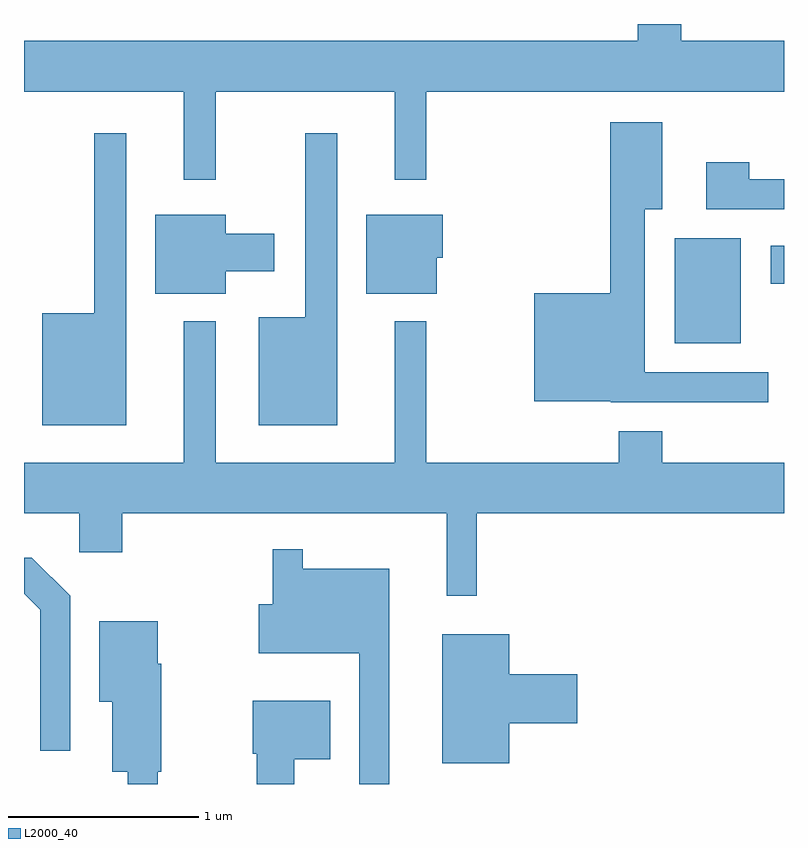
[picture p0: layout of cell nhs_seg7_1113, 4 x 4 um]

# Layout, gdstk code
import gdstk
lib = gdstk.Library(unit=1e-6, precision=1e-09)
def R(c, l, rs):  # rectangles x0, y0, x1, y1
    for r in rs: c.add(gdstk.rectangle(r[:2], r[2:], *l))
def P(c, l, *ps):  # polygons
    for p in ps: c.add(gdstk.Polygon(p, *l))
L2000_40 = (2000, 40)

nhs_seg7_1113 = lib.new_cell('nhs_seg7_1113')
R(nhs_seg7_1113, L2000_40, [(223.036,1688.571,223.384,1689.124), (223.541,1688.886,223.611,1689.084)])
P(nhs_seg7_1113, L2000_40, [(220.619,1689.896),(221.561,1689.896),(221.561,1689.433),(221.729,1689.433),(221.729,1689.896),(223.611,1689.896),(223.611,1690.164),(223.069,1690.164),(223.069,1690.252),(222.841,1690.252),(222.841,1690.164),(219.611,1690.164),(219.611,1689.896),(220.451,1689.896),(220.451,1689.433),(220.619,1689.433)],
  [(223.528,1688.419),(222.879,1688.419),(222.879,1689.276),(222.969,1689.276),(222.969,1689.734),(222.696,1689.734),(222.696,1688.834),(222.296,1688.834),(222.296,1688.266),(222.7,1688.266),(222.7,1688.261),(223.528,1688.261)],
  [(220.149,1689.678),(219.981,1689.678),(219.981,1688.729),(219.706,1688.729),(219.706,1688.141),(220.149,1688.141)],
  [(221.259,1689.678),(221.091,1689.678),(221.091,1688.709),(220.846,1688.709),(220.846,1688.141),(221.259,1688.141)],
  [(223.611,1689.434),(223.429,1689.434),(223.429,1689.524),(223.201,1689.524),(223.201,1689.276),(223.611,1689.276)],
  [(220.674,1688.951),(220.929,1688.951),(220.929,1689.149),(220.674,1689.149),(220.674,1689.249),(220.301,1689.249),(220.301,1688.831),(220.674,1688.831)],
  [(221.784,1689.021),(221.814,1689.021),(221.814,1689.249),(221.411,1689.249),(221.411,1688.831),(221.784,1688.831)],
  [(221.994,1687.676),(223.611,1687.676),(223.611,1687.944),(222.969,1687.944),(222.969,1688.109),(222.741,1688.109),(222.741,1687.944),(221.729,1687.944),(221.729,1688.688),(221.561,1688.688),(221.561,1687.944),(220.619,1687.944),(220.619,1688.688),(220.451,1688.688),(220.451,1687.944),(219.611,1687.944),(219.611,1687.676),(219.901,1687.676),(219.901,1687.471),(220.129,1687.471),(220.129,1687.676),(221.836,1687.676),(221.836,1687.243),(221.994,1687.243)],
  [(221.534,1687.384),(221.079,1687.384),(221.079,1687.488),(220.921,1687.488),(220.921,1687.199),(220.846,1687.199),(220.846,1686.941),(221.376,1686.941),(221.376,1686.252),(221.534,1686.252)],
  [(219.854,1687.242),(219.652,1687.444),(219.611,1687.444),(219.611,1687.254),(219.696,1687.169),(219.696,1686.428),(219.854,1686.428)],
  [(220.314,1686.316),(220.334,1686.316),(220.334,1686.884),(220.314,1686.884),(220.314,1687.109),(220.006,1687.109),(220.006,1686.686),(220.076,1686.686),(220.076,1686.316),(220.156,1686.316),(220.156,1686.252),(220.314,1686.252)],
  [(222.164,1686.571),(222.524,1686.571),(222.524,1686.829),(222.164,1686.829),(222.164,1687.039),(221.811,1687.039),(221.811,1686.361),(222.164,1686.361)],
  [(221.034,1686.381),(221.224,1686.381),(221.224,1686.689),(220.816,1686.689),(220.816,1686.411),(220.836,1686.411),(220.836,1686.252),(221.034,1686.252)])

lib.write_gds('nhs_seg7_1113.gds')
